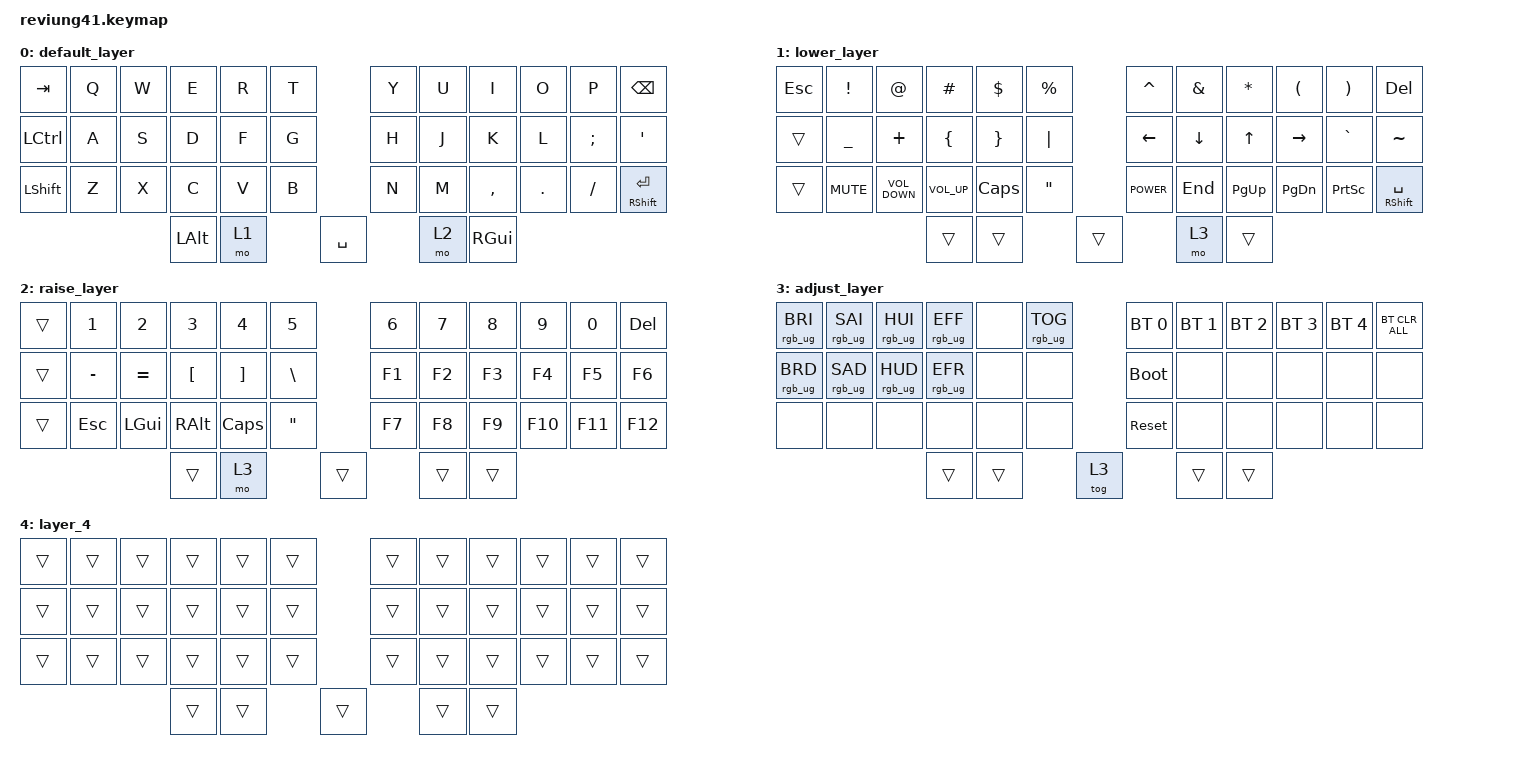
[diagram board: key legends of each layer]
/*
 * Copyright (c) 2020 The ZMK Contributors
 *
 * SPDX-License-Identifier: MIT
 */

#include <behaviors.dtsi>
#include <dt-bindings/zmk/bt.h>
#include <dt-bindings/zmk/keys.h>
#include <dt-bindings/zmk/rgb.h>

/ {
    keymap {
        compatible = "zmk,keymap";

        default_layer {
            // -------------------------------------------------------------------------------------
            // |  TAB |  Q  |  W  |  E  |  R  |  T  |   |  Y  |  U   |  I  |  O  |  P  |   BKSP    |
            // | CTRL |  A  |  S  |  D  |  F  |  G  |   |  H  |  J   |  K  |  L  |  ;  |    '      |
            // | SHFT |  Z  |  X  |  C  |  V  |  B  |   |  N  |  M   |  ,  |  .  |  /  | SHFT(RET) |
            //                         | ALT | LWR | SPC | RSE  | ALT |

            bindings = <
&kp TAB    &kp Q  &kp W  &kp E     &kp R  &kp T             &kp Y  &kp U  &kp I      &kp O    &kp P     &kp BSPC
&kp LCTRL  &kp A  &kp S  &kp D     &kp F  &kp G             &kp H  &kp J  &kp K      &kp L    &kp SEMI  &kp SQT
&kp LSHFT  &kp Z  &kp X  &kp C     &kp V  &kp B             &kp N  &kp M  &kp COMMA  &kp DOT  &kp FSLH  &mt RSHFT RET
                         &kp LALT  &mo 1         &kp SPACE         &mo 2  &kp RGUI
            >;
        };

        lower_layer {
            // ------------------------------------------------------------------------------------
            // |    |  !  |  @  |  #  |  $  |  %  |   |  ^  |  &  |  *  |  (  |  )  |      DEL    |
            // |    |  _  |  +  |  {  |  }  | "|" |   | LFT | DWN |  UP | RGT |  `  |       ~     |
            // |    | ESC | GUI | ALT | CAPS|  "  |   | HOME| END | PGUP| PGDN| PRSC| SHFT(SPACE) |
            //                       |     |     | RET | ADJ |     |

            bindings = <
&kp ESC  &kp EXCL    &kp AT             &kp HASH         &kp DLLR  &kp PRCNT          &kp CARET    &kp AMPS  &kp ASTRK  &kp LPAR   &kp RPAR         &kp DEL
&trans   &kp UNDER   &kp PLUS           &kp LBRC         &kp RBRC  &kp PIPE           &kp LEFT     &kp DOWN  &kp UP     &kp RIGHT  &kp GRAVE        &kp TILDE
&trans   &kp C_MUTE  &kp C_VOLUME_DOWN  &kp C_VOLUME_UP  &kp CLCK  &kp DQT            &kp C_POWER  &kp END   &kp PG_UP  &kp PG_DN  &kp PRINTSCREEN  &mt RSHFT SPACE
                                        &trans           &trans               &trans               &mo 3     &trans
            >;
        };

        raise_layer {
            // ----------------------------------------------------------------------------
            // |    |  1  |  2  |  3  |  4  |  5  |   |  6  |  7  |  8  |  9  |  0  | DEL |
            // |    |  -  |  =  |  [  |  ]  |  \  |   | F1  | F2  | F3  | F4  | F5  | F6  |
            // |    | ESC | GUI | ALT | CAPS|  "  |   | F7  | F8  | F9  | F10 | F11 | F12 |
            //                       |     | ADJ | BKSP |    |     |

            bindings = <
&trans  &kp N1     &kp N2     &kp N3    &kp N4    &kp N5            &kp N6  &kp N7  &kp N8  &kp N9   &kp N0   &kp DEL
&trans  &kp MINUS  &kp EQUAL  &kp LBKT  &kp RBKT  &kp BSLH          &kp F1  &kp F2  &kp F3  &kp F4   &kp F5   &kp F6
&trans  &kp ESC    &kp LGUI   &kp RALT  &kp CLCK  &kp DQT           &kp F7  &kp F8  &kp F9  &kp F10  &kp F11  &kp F12
                              &trans    &mo 3               &trans          &trans  &trans
            >;
        };

        adjust_layer {
            // -----------------------------------------------------------------------------------------
            // | RGB BRI+ | RGB SAT+ | RGB HUE+ | RGB ANI+ |    | RGB TOG |   |  BT1  | BT2 | BT3 | BT4 | BT5 | BT CLR |
            // | RGB BRI- | RGB SAT- | RGB HUE- | RGB ANI- |    |         |   |       |     |     |     |     |        |
            // |          |          |          |          |    |         |   | RESET |     |     |     |     |        |
            //                                              |     |     |     |     |     |

            bindings = <
&rgb_ug RGB_BRI  &rgb_ug RGB_SAI  &rgb_ug RGB_HUI  &rgb_ug RGB_EFF  &none   &rgb_ug RGB_TOG          &bt BT_SEL 0  &bt BT_SEL 1  &bt BT_SEL 2  &bt BT_SEL 3  &bt BT_SEL 4  &bt BT_CLR_ALL
&rgb_ug RGB_BRD  &rgb_ug RGB_SAD  &rgb_ug RGB_HUD  &rgb_ug RGB_EFR  &none   &none                    &bootloader   &none         &none         &none         &none         &none
&none            &none            &none            &none            &none   &none                    &sys_reset    &none         &none         &none         &none         &none
                                                   &trans           &trans                   &tog 3                &trans        &trans
            >;
        };

        layer_4 {
            bindings = <
&trans  &trans  &trans  &trans  &trans  &trans          &trans  &trans  &trans  &trans  &trans  &trans
&trans  &trans  &trans  &trans  &trans  &trans          &trans  &trans  &trans  &trans  &trans  &trans
&trans  &trans  &trans  &trans  &trans  &trans          &trans  &trans  &trans  &trans  &trans  &trans
                        &trans  &trans          &trans          &trans  &trans
            >;
        };
    };
};
